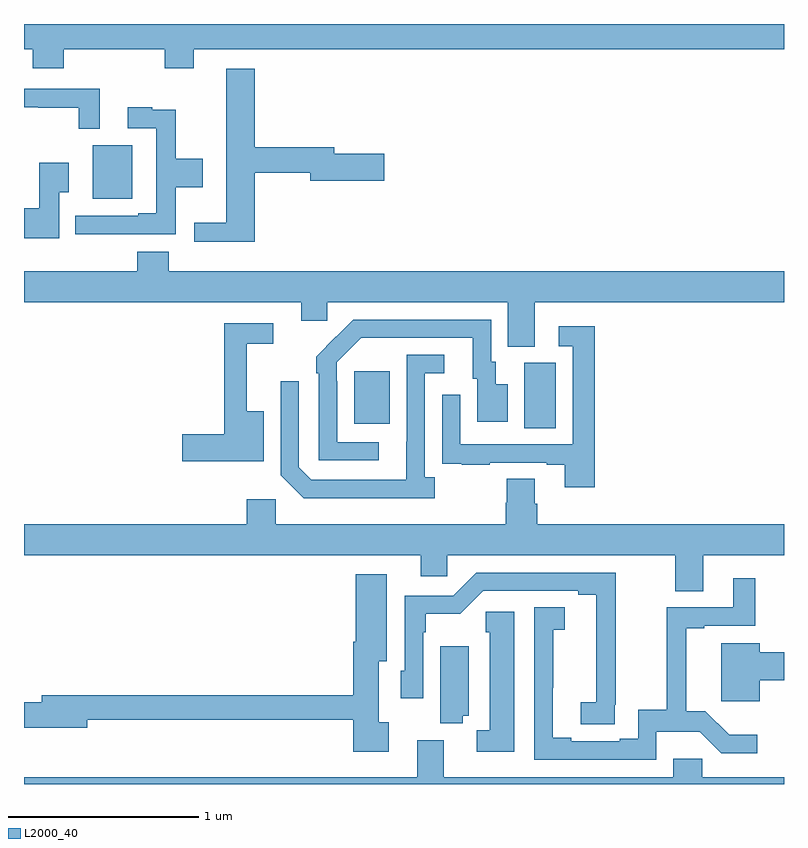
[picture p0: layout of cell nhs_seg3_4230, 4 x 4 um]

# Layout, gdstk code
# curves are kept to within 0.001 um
import gdstk
lib = gdstk.Library(unit=1e-6, precision=1e-09)
def R(c, l, rs):  # rectangles x0, y0, x1, y1
    for r in rs: c.add(gdstk.rectangle(r[:2], r[2:], *l))
def P(c, l, *ps):  # polygons
    for p in ps: c.add(gdstk.Polygon(p, *l))
L2000_40 = (2000, 40)

nhs_seg3_4230 = lib.new_cell('nhs_seg3_4230')
R(nhs_seg3_4230, L2000_40, [(337.634,680.272,337.798,680.616), (336.737,680.297,336.925,680.572), (335.363,681.479,335.569,681.763)])
P(nhs_seg3_4230, L2000_40, [(335.21,682.268),(335.741,682.268),(335.741,682.166),(335.893,682.166),(335.893,682.268),(339,682.268),(339,682.4),(335,682.4),(335,682.268),(335.045,682.268),(335.045,682.166),(335.21,682.166)],
  [(336.215,681.616),(336.506,681.616),(336.506,681.574),(336.895,681.574),(336.895,681.716),(336.634,681.716),(336.634,681.752),(336.215,681.752),(336.215,682.165),(336.065,682.165),(336.065,681.353),(335.895,681.353),(335.895,681.254),(336.215,681.254)],
  [(335.398,682.059),(335,682.059),(335,681.963),(335.074,681.963),(335.074,681.958),(335.289,681.958),(335.289,681.848),(335.398,681.848)],
  [(335.513,681.294),(335.798,681.294),(335.798,681.542),(335.941,681.542),(335.941,681.69),(335.798,681.69),(335.798,681.95),(335.675,681.95),(335.675,681.961),(335.547,681.961),(335.547,681.852),(335.697,681.852),(335.697,681.403),(335.6,681.403),(335.6,681.39),(335.271,681.39),(335.271,681.293),(335.513,681.293)],
  [(335.185,681.514),(335.236,681.514),(335.236,681.67),(335.081,681.67),(335.081,681.43),(335,681.43),(335,681.272),(335.185,681.272)],
  [(337.687,680.936),(339,680.936),(339,681.1),(335.762,681.1),(335.762,681.202),(335.597,681.202),(335.597,681.1),(335,681.1),(335,680.936),(336.458,680.936),(336.458,680.838),(336.597,680.838),(336.597,680.936),(337.547,680.936),(337.547,680.701),(337.687,680.701)],
  [(336.868,680.199),(336.648,680.199),(336.648,680.519),(336.645,680.519),(336.645,680.619),(336.774,680.748),(337.361,680.748),(337.361,680.532),(337.385,680.532),(337.385,680.307),(337.546,680.307),(337.546,680.503),(337.483,680.503),(337.483,680.622),(337.458,680.622),(337.458,680.844),(336.734,680.844),(336.537,680.649),(336.537,680.561),(336.552,680.561),(336.552,680.103),(336.868,680.103)],
  [(336.262,680.362),(336.173,680.362),(336.173,680.718),(336.313,680.718),(336.313,680.826),(336.055,680.826),(336.055,680.24),(335.832,680.24),(335.832,680.098),(336.262,680.098)],
  [(338.003,680.809),(337.815,680.809),(337.815,680.703),(337.887,680.703),(337.887,680.187),(337.296,680.187),(337.296,680.449),(337.2,680.449),(337.2,680.194),(337.201,680.194),(337.201,680.085),(337.303,680.085),(337.303,680.079),(337.451,680.079),(337.451,680.091),(337.751,680.091),(337.751,680.079),(337.847,680.079),(337.847,679.962),(338.003,679.962)],
  [(337.162,680.014),(337.11,680.014),(337.11,680.562),(337.213,680.562),(337.213,680.658),(337.014,680.658),(337.013,680.001),(336.513,680.001),(336.447,680.067),(336.447,680.521),(336.351,680.521),(336.351,680.025),(336.472,679.904),(337.162,679.904)],
  [(338.575,679.604),(339,679.604),(339,679.768),(337.7,679.768),(337.7,679.874),(337.687,679.874),(337.687,680.006),(337.54,680.006),(337.54,679.881),(337.535,679.881),(337.535,679.768),(336.324,679.768),(336.324,679.9),(336.173,679.9),(336.173,679.768),(335,679.768),(335,679.604),(337.088,679.604),(337.088,679.494),(337.227,679.494),(337.227,679.604),(338.428,679.604),(338.428,679.414),(338.575,679.414)],
  [(338.108,678.817),(338.114,678.817),(338.114,679.512),(337.38,679.512),(337.26,679.392),(337.005,679.392),(337.005,678.996),(336.984,678.996),(336.984,678.852),(337.101,678.852),(337.101,679.199),(337.114,679.199),(337.114,679.295),(337.295,679.295),(337.416,679.416),(337.916,679.416),(337.916,679.396),(338.012,679.396),(338.011,678.83),(337.929,678.83),(337.929,678.715),(338.108,678.715)],
  [(336.919,678.726),(336.868,678.726),(336.868,679.046),(336.91,679.046),(336.91,679.504),(336.746,679.504),(336.746,679.15),(336.734,679.15),(336.734,678.866),(335.093,678.866),(335.093,678.83),(335,678.83),(335,678.695),(335.332,678.695),(335.332,678.738),(336.734,678.738),(336.734,678.57),(336.919,678.57)],
  [(338.328,678.674),(338.557,678.674),(338.67,678.561),(338.86,678.561),(338.86,678.658),(338.711,678.658),(338.585,678.784),(338.486,678.784),(338.486,679.221),(338.581,679.221),(338.581,679.233),(338.849,679.233),(338.849,679.483),(338.732,679.483),(338.732,679.329),(338.383,679.329),(338.383,678.791),(338.232,678.791),(338.232,678.638),(338.135,678.638),(338.135,678.624),(337.879,678.624),(337.879,678.644),(337.783,678.644),(337.783,678.907),(337.785,678.907),(337.785,679.211),(337.846,679.211),(337.846,679.331),(337.686,679.331),(337.686,678.528),(338.328,678.528)],
  [(337.579,679.306),(337.429,679.306),(337.429,679.2),(337.451,679.2),(337.451,678.684),(337.383,678.684),(337.383,678.569),(337.579,678.569)],
  [(338.872,678.947),(339,678.947),(339,679.094),(338.872,679.094),(338.872,679.141),(338.669,679.141),(338.669,678.836),(338.872,678.836)],
  [(337.31,678.758),(337.342,678.758),(337.342,679.126),(337.19,679.126),(337.19,678.721),(337.31,678.721)],
  [(339,678.436),(338.569,678.436),(338.569,678.534),(338.417,678.534),(338.417,678.436),(337.21,678.436),(337.21,678.631),(337.07,678.631),(337.07,678.436),(335,678.436),(335,678.4),(339,678.4)])

lib.write_gds('nhs_seg3_4230.gds')
